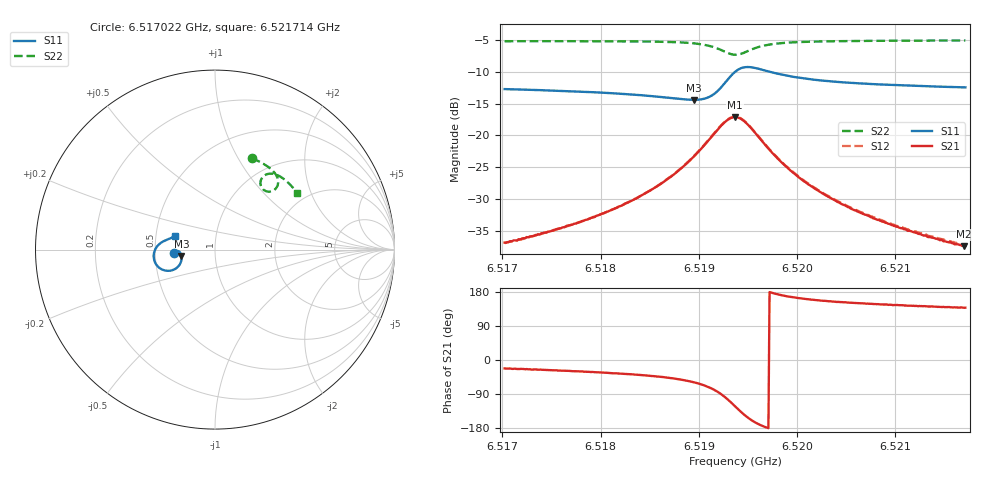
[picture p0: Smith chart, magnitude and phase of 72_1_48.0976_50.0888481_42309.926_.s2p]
#  HZ  S  RI  R  50.00
! Rohde & Schwarz Vector Network Analyzer
! Rohde-Schwarz,ZNB20-2Port,1311601062101988,3.16
! Created: UTC 12/23/2023, 3:41:50 AM
! freq[Hz]  re:S11  im:S11  re:S21  im:S21  re:S12  im:S12  re:S22  im:S22
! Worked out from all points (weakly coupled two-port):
!   401 points, 6.517022 GHz to 6.521714 GHz, reference 50 ohm
!   highest |S21| = -17.13 dB at 6.519368 GHz (marker M1); lowest = -37.4 dB at 6.521702 GHz (marker M2)
!   lowest |S11| = -14.4 dB at 6.518946 GHz (marker M3), VSWR 1.47, Z = 34.2 - j2.47 ohm
!   |S11| at or under -10 dB: start of sweep to 6.51937 GHz; 6.519719 GHz to end of sweep
!   |S22| runs from -7.3 to -5.1 dB; largest |S21 - S12| = 0.0041
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6.5170217e9  -0.2304 -0.0167  0.0134 -0.00546  0.0134 -0.00497  0.2053 0.5086
6.5174675e9  -0.2252 -0.0105  0.0157 -0.00788  0.0159 -0.00732  0.2381 0.4945
6.5178077e9  -0.2203 -0.00664  0.0184 -0.0107  0.0186 -0.0101  0.2634 0.4815
6.5182183e9  -0.212 -0.00478  0.0229 -0.0166  0.0234 -0.0159  0.2942 0.462
6.5185937e9  -0.2007 -0.00956  0.0294 -0.0283  0.0304 -0.0275  0.3233 0.4373
6.5187696e9  -0.1937 -0.0176  0.0331 -0.0391  0.0344 -0.0382  0.3372 0.4207
6.5189456e9  -0.187 -0.0348  0.0354 -0.0579  0.0374 -0.0572  0.3489 0.3966
6.5190512e9  -0.1863 -0.0537  0.033 -0.0762  0.0355 -0.0757  0.3519 0.3758
6.519145e9  -0.1936 -0.0781  0.0225 -0.0984  0.0256 -0.0985  0.3467 0.3526
6.5192741e9  -0.2369 -0.1145  -0.0218 -0.1273  -0.018 -0.1289  0.3132 0.3241
6.5193679e9  -0.2951 -0.1108  -0.0737 -0.118  -0.0709 -0.1209  0.2728 0.3317
6.5194148e9  -0.3203 -0.0918  -0.0942 -0.0987  -0.0921 -0.1022  0.2586 0.3481
6.5194735e9  -0.3381 -0.0602  -0.1063 -0.0693  -0.1052 -0.0728  0.2531 0.3728
6.5195791e9  -0.3373 -0.00961  -0.1002 -0.026  -0.1001 -0.0291  0.2676 0.4058
6.5196847e9  -0.3207 0.0199  -0.0826 -0.00323  -0.0834 -0.00576  0.2906 0.4202
6.5199075e9  -0.2897 0.045  -0.0539 0.0118  -0.0548 0.0104  0.3297 0.421
6.5201539e9  -0.2692 0.0543  -0.037 0.014  -0.0377 0.0132  0.3584 0.4098
6.5205645e9  -0.2505 0.062  -0.023 0.0129  -0.0237 0.0124  0.3923 0.3864
6.5209399e9  -0.2398 0.0675  -0.0167 0.0113  -0.0173 0.011  0.4163 0.3642
6.5213152e9  -0.232 0.0726  -0.0128 0.0101  -0.0133 0.01  0.4371 0.3416
6.5217024e9  -0.2252 0.0781  -0.01 0.00909  -0.0105 0.00895  0.4563 0.3177
6.5217141e9  -0.225 0.0782  -0.0101 0.00907  -0.0103 0.00902  0.457 0.3169
